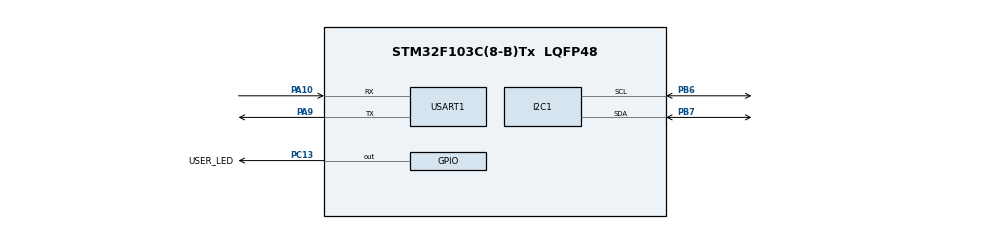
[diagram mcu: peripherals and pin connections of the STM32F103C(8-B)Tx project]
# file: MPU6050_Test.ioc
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Mcu.Family=STM32F1
Mcu.Name=STM32F103C(8-B)Tx
Mcu.Package=LQFP48
NVIC.PriorityGroup=NVIC_PRIORITYGROUP_4
NVIC.USART1_IRQn=true\:0\:0\:false\:false\:true\:true\:true\:true
PA10.Mode=Asynchronous
PA10.Signal=USART1_RX
PA13.Mode=Serial_Wire
PA13.Signal=SYS_JTMS-SWDIO
PA14.Mode=Serial_Wire
PA14.Signal=SYS_JTCK-SWCLK
PA9.Mode=Asynchronous
PA9.Signal=USART1_TX
PB6.Mode=I2C
PB6.Signal=I2C1_SCL
PB7.Mode=I2C
PB7.Signal=I2C1_SDA
PC13-TAMPER-RTC.GPIO_Label=USER_LED
PC13-TAMPER-RTC.GPIO_ModeDefaultOutputPP=GPIO_MODE_OUTPUT_OD
PC13-TAMPER-RTC.GPIO_PuPd=GPIO_NOPULL
PC13-TAMPER-RTC.PinState=GPIO_PIN_SET
PC13-TAMPER-RTC.Signal=GPIO_Output
ProjectManager.HeapSize=0x200
ProjectManager.StackSize=0x400
ProjectManager.TargetToolchain=STM32CubeIDE
RCC.APB1Freq_Value=8000000
RCC.APB2Freq_Value=8000000
USART1.VirtualMode=VM_ASYNC
board=custom

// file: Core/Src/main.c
/* USER CODE BEGIN Header */
/**
  ******************************************************************************
  * @file           : main.c
  * @brief          : Main program body
  ******************************************************************************
  * @attention
  *
  * Copyright (c) 2025 STMicroelectronics.
  * All rights reserved.
  *
  * This software is licensed under terms that can be found in the LICENSE file
  * in the root directory of this software component.
  * If no LICENSE file comes with this software, it is provided AS-IS.
  *
  ******************************************************************************
  */
/* USER CODE END Header */
#include "main.h"

/* USER CODE BEGIN Includes */
#include "MPU6050.h"
#include <string.h>
#include <stdio.h>
/* USER CODE END Includes */

/* USER CODE BEGIN PTD */

// Define a structure to hold the state of one rolling average filter
#define BUFFER_SIZE 100

typedef struct {
    float buffer[BUFFER_SIZE];
    float sum;
    int head;
    int count;
} RollingAverageFilter;

/* USER CODE END PTD */

I2C_HandleTypeDef hi2c1;

UART_HandleTypeDef huart1;

void SystemClock_Config(void);
static void MX_GPIO_Init(void);
static void MX_I2C1_Init(void);
static void MX_USART1_UART_Init(void);

/* USER CODE BEGIN 0 */

// Initialize the filter's state
void init_filter(RollingAverageFilter* filter) {
    memset(filter->buffer, 0, sizeof(filter->buffer));
    filter->sum = 0.0f;
    filter->head = 0;
    filter->count = 0;
}

// Update the filter with a new value and return the new average
float update_filter(RollingAverageFilter* filter, float new_value) {
    if (filter->count < BUFFER_SIZE) {
        filter->count++;
    } else {
        filter->sum -= filter->buffer[filter->head];
    }

    filter->buffer[filter->head] = new_value;
    filter->sum += new_value;

    filter->head = (filter->head + 1) % BUFFER_SIZE;

    return filter->sum / filter->count;
}

/* USER CODE END 0 */

int main(void)
{

  /* MCU Configuration--------------------------------------------------------*/

  /* Reset of all peripherals, Initializes the Flash interface and the Systick. */
  HAL_Init();

  /* USER CODE BEGIN Init */

  RollingAverageFilter AccX;
  RollingAverageFilter AccY;
  RollingAverageFilter AccZ;
  RollingAverageFilter GyrX;
  RollingAverageFilter GyrY;
  RollingAverageFilter GyrZ;

  init_filter(&AccX);
  init_filter(&AccY);
  init_filter(&AccZ);
  init_filter(&GyrX);
  init_filter(&GyrY);
  init_filter(&GyrZ);

  /* USER CODE END Init */

  /* Configure the system clock */
  SystemClock_Config();

  /* Initialize all configured peripherals */
  MX_GPIO_Init();
  MX_I2C1_Init();
  MX_USART1_UART_Init();
  /* USER CODE BEGIN 2 */

  MPU6050_init();

  char data[256];

  void reset_data(char* data)
  {
	  for (int i = 0; i < strlen(data); i++)
	  {
		  data[i] = 0;
	  }
  }

  /* USER CODE END 2 */

  /* Infinite loop */
  /* USER CODE BEGIN WHILE */
  while (1)
  {
	  float Ax, Ay, Az, Gx, Gy, Gz;
	  MPU6050_Read_Accel (&Ax, &Ay, &Az);
	  MPU6050_Read_Gyro (&Gx, &Gy, &Gz);
	  HAL_Delay(100);
	  reset_data(data);
	  //Ax = update_filter(&AccX, Ax);
	  Ay = update_filter(&AccY, Ay);
	  Az = update_filter(&AccZ, Az);
	  Gx = update_filter(&GyrX, Gx);
	  Gy = update_filter(&GyrY, Gy);
	  Gz = update_filter(&GyrZ, Gz);
	  //sprintf((char*)data, "Ax : %f Ay : %f Az : %f Gx : %f Gy : %f Gz : %f\n\r", Ax, Ay, Az, Gx, Gy, Gz);
	  HAL_UART_Transmit(&huart1, (uint8_t*)data, strlen(data), 100);
    /* USER CODE END WHILE */

  }
}

void SystemClock_Config(void)
{
  RCC_OscInitTypeDef RCC_OscInitStruct = {0};
  RCC_ClkInitTypeDef RCC_ClkInitStruct = {0};

  /** Initializes the RCC Oscillators according to the specified parameters
  * in the RCC_OscInitTypeDef structure.
  */
  RCC_OscInitStruct.OscillatorType = RCC_OSCILLATORTYPE_HSI;
  RCC_OscInitStruct.HSIState = RCC_HSI_ON;
  RCC_OscInitStruct.HSICalibrationValue = RCC_HSICALIBRATION_DEFAULT;
  RCC_OscInitStruct.PLL.PLLState = RCC_PLL_NONE;
  if (HAL_RCC_OscConfig(&RCC_OscInitStruct) != HAL_OK)
  {
    Error_Handler();
  }

  /** Initializes the CPU, AHB and APB buses clocks
  */
  RCC_ClkInitStruct.ClockType = RCC_CLOCKTYPE_HCLK|RCC_CLOCKTYPE_SYSCLK
                              |RCC_CLOCKTYPE_PCLK1|RCC_CLOCKTYPE_PCLK2;
  RCC_ClkInitStruct.SYSCLKSource = RCC_SYSCLKSOURCE_HSI;
  RCC_ClkInitStruct.AHBCLKDivider = RCC_SYSCLK_DIV1;
  RCC_ClkInitStruct.APB1CLKDivider = RCC_HCLK_DIV1;
  RCC_ClkInitStruct.APB2CLKDivider = RCC_HCLK_DIV1;

  if (HAL_RCC_ClockConfig(&RCC_ClkInitStruct, FLASH_LATENCY_0) != HAL_OK)
  {
    Error_Handler();
  }
}

static void MX_I2C1_Init(void)
{

  hi2c1.Instance = I2C1;
  hi2c1.Init.ClockSpeed = 100000;
  hi2c1.Init.DutyCycle = I2C_DUTYCYCLE_2;
  hi2c1.Init.OwnAddress1 = 0;
  hi2c1.Init.AddressingMode = I2C_ADDRESSINGMODE_7BIT;
  hi2c1.Init.DualAddressMode = I2C_DUALADDRESS_DISABLE;
  hi2c1.Init.OwnAddress2 = 0;
  hi2c1.Init.GeneralCallMode = I2C_GENERALCALL_DISABLE;
  hi2c1.Init.NoStretchMode = I2C_NOSTRETCH_DISABLE;
  if (HAL_I2C_Init(&hi2c1) != HAL_OK)
  {
    Error_Handler();
  }

}

static void MX_USART1_UART_Init(void)
{

  huart1.Instance = USART1;
  huart1.Init.BaudRate = 115200;
  huart1.Init.WordLength = UART_WORDLENGTH_8B;
  huart1.Init.StopBits = UART_STOPBITS_1;
  huart1.Init.Parity = UART_PARITY_NONE;
  huart1.Init.Mode = UART_MODE_TX_RX;
  huart1.Init.HwFlowCtl = UART_HWCONTROL_NONE;
  huart1.Init.OverSampling = UART_OVERSAMPLING_16;
  if (HAL_UART_Init(&huart1) != HAL_OK)
  {
    Error_Handler();
  }

}

static void MX_GPIO_Init(void)
{
  GPIO_InitTypeDef GPIO_InitStruct = {0};

  /* GPIO Ports Clock Enable */
  __HAL_RCC_GPIOC_CLK_ENABLE();
  __HAL_RCC_GPIOA_CLK_ENABLE();
  __HAL_RCC_GPIOB_CLK_ENABLE();

  /*Configure GPIO pin Output Level */
  HAL_GPIO_WritePin(USER_LED_GPIO_Port, USER_LED_Pin, GPIO_PIN_SET);

  /*Configure GPIO pin : USER_LED_Pin */
  GPIO_InitStruct.Pin = USER_LED_Pin;
  GPIO_InitStruct.Mode = GPIO_MODE_OUTPUT_OD;
  GPIO_InitStruct.Pull = GPIO_NOPULL;
  GPIO_InitStruct.Speed = GPIO_SPEED_FREQ_LOW;
  HAL_GPIO_Init(USER_LED_GPIO_Port, &GPIO_InitStruct);

}

void Error_Handler(void)
{
  __disable_irq();
  while (1)
  {
  }
}
